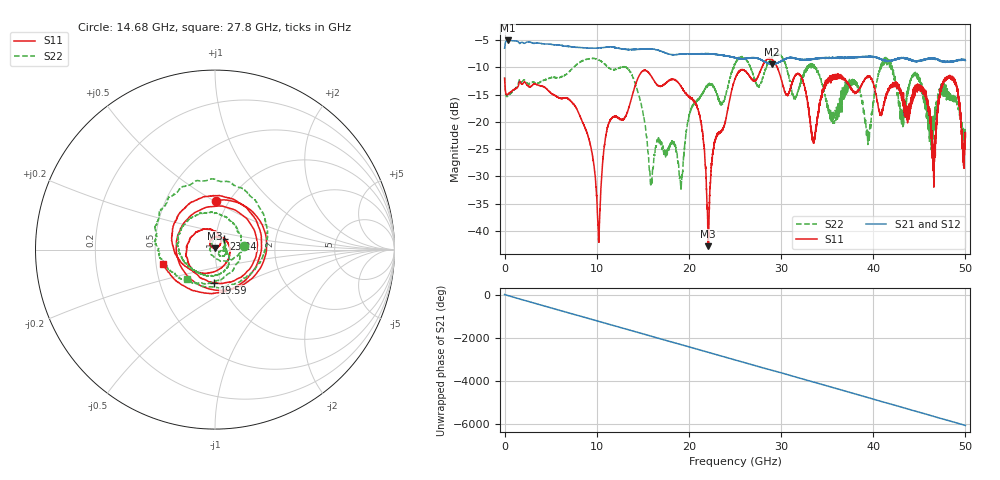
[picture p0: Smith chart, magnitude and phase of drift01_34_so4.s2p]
!Created with skrf (http://scikit-rf.org).
# Hz S RI R 50.0
!freq ReS11 ImS11 ReS21 ImS21 ReS12 ImS12 ReS22 ImS22
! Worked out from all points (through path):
!   10001 points, 300 kHz to 50 GHz, reference 50 ohm
!   highest |S21| = -5.05 dB at 315.3 MHz (marker M1); lowest = -9.4 dB at 29.03 GHz (marker M2)
!   group delay of S21, straight-line fit = 336 ps
!   lowest |S11| = -42.8 dB at 22.09 GHz (marker M3), VSWR 1.01, Z = 49.9 + j0.715 ohm
!   |S11| at or under -10 dB: start of sweep to 27.91 GHz; 29.59 GHz to end of sweep
!   |S22| runs from -32.4 to -7.5 dB; largest |S21 - S12| = 0.012
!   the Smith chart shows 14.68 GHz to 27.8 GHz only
!   S11 on the Smith chart (normalised r, x): 14.68 GHz: 0.87, +0.51; 19.59 GHz: 0.93, -0.35; 23.24 GHz: 1.09, +0.14; 27.8 GHz: 0.54, -0.10
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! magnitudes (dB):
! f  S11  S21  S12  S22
! 300 kHz  -12.0  -6.5  -6.6  -11.8
! 315.3 MHz  -15.0  -5.1  -5.1  -15.3
! 8.335 GHz  -19.6  -6.4  -6.4  -8.9
! 10.21 GHz  -41.7  -6.4  -6.4  -8.6
! 11.23 GHz  -20.7  -6.3  -6.3  -10.0
! 14.68 GHz  -11.3  -6.7  -6.7  -15.8
! 15.88 GHz  -11.5  -6.6  -6.6  -30.9
! 16.67 GHz  -13.4  -6.9  -6.9  -23.2
! 19.59 GHz  -14.7  -7.5  -7.5  -23.5
! 21.23 GHz  -19.5  -7.5  -7.5  -15.5
! 22.09 GHz  -42.8  -7.5  -7.5  -13.2
! 23.24 GHz  -22.1  -7.7  -7.7  -15.7
! 25 GHz  -12.1  -8.2  -8.3  -9.5
! 27.8 GHz  -10.4  -8.6  -8.6  -12.8
! 29.03 GHz  -8.6  -9.4  -9.4  -8.2
! 33.34 GHz  -22.5  -8.5  -8.4  -9.6
! 39.47 GHz  -11.7  -8.0  -8.0  -22.2
! 41.67 GHz  -13.8  -8.8  -8.8  -9.0
! 45.48 GHz  -14.7  -8.6  -8.6  -16.4
! 46.56 GHz  -25.0  -8.3  -8.3  -20.7
! 48.52 GHz  -11.8  -8.9  -8.9  -15.3
! 50 GHz  -22.8  -8.7  -8.7  -23.1
